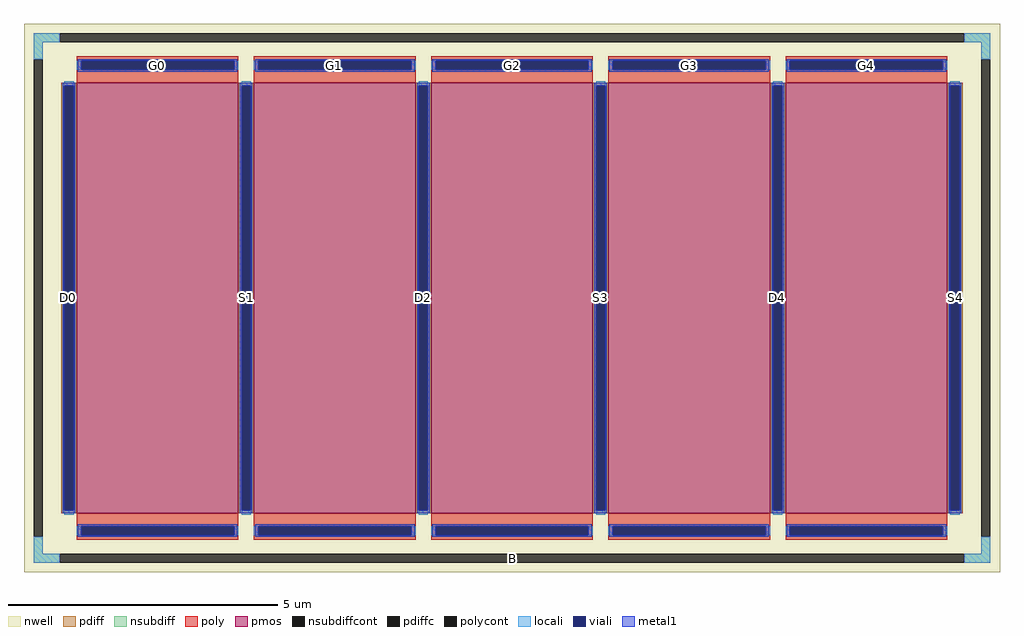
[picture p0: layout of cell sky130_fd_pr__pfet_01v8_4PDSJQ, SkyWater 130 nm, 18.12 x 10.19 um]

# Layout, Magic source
magic
tech sky130A
magscale 1 2
<< nwell >>
rect -1812 -1019 1812 1019
<< pmos >>
rect -1616 -800 -1016 800
rect -958 -800 -358 800
rect -300 -800 300 800
rect 358 -800 958 800
rect 1016 -800 1616 800
<< pdiff >>
rect -1674 788 -1616 800
rect -1674 -788 -1662 788
rect -1628 -788 -1616 788
rect -1674 -800 -1616 -788
rect -1016 788 -958 800
rect -1016 -788 -1004 788
rect -970 -788 -958 788
rect -1016 -800 -958 -788
rect -358 788 -300 800
rect -358 -788 -346 788
rect -312 -788 -300 788
rect -358 -800 -300 -788
rect 300 788 358 800
rect 300 -788 312 788
rect 346 -788 358 788
rect 300 -800 358 -788
rect 958 788 1016 800
rect 958 -788 970 788
rect 1004 -788 1016 788
rect 958 -800 1016 -788
rect 1616 788 1674 800
rect 1616 -788 1628 788
rect 1662 -788 1674 788
rect 1616 -800 1674 -788
<< pdiffc >>
rect -1662 -788 -1628 788
rect -1004 -788 -970 788
rect -346 -788 -312 788
rect 312 -788 346 788
rect 970 -788 1004 788
rect 1628 -788 1662 788
<< nsubdiff >>
rect -1776 949 -1680 983
rect 1680 949 1776 983
rect -1776 887 -1742 949
rect 1742 887 1776 949
rect -1776 -949 -1742 -887
rect 1742 -949 1776 -887
rect -1776 -983 -1680 -949
rect 1680 -983 1776 -949
<< nsubdiffcont >>
rect -1680 949 1680 983
rect -1776 -887 -1742 887
rect 1742 -887 1776 887
rect -1680 -983 1680 -949
<< poly >>
rect -1616 881 -1016 897
rect -1616 847 -1600 881
rect -1032 847 -1016 881
rect -1616 800 -1016 847
rect -958 881 -358 897
rect -958 847 -942 881
rect -374 847 -358 881
rect -958 800 -358 847
rect -300 881 300 897
rect -300 847 -284 881
rect 284 847 300 881
rect -300 800 300 847
rect 358 881 958 897
rect 358 847 374 881
rect 942 847 958 881
rect 358 800 958 847
rect 1016 881 1616 897
rect 1016 847 1032 881
rect 1600 847 1616 881
rect 1016 800 1616 847
rect -1616 -847 -1016 -800
rect -1616 -881 -1600 -847
rect -1032 -881 -1016 -847
rect -1616 -897 -1016 -881
rect -958 -847 -358 -800
rect -958 -881 -942 -847
rect -374 -881 -358 -847
rect -958 -897 -358 -881
rect -300 -847 300 -800
rect -300 -881 -284 -847
rect 284 -881 300 -847
rect -300 -897 300 -881
rect 358 -847 958 -800
rect 358 -881 374 -847
rect 942 -881 958 -847
rect 358 -897 958 -881
rect 1016 -847 1616 -800
rect 1016 -881 1032 -847
rect 1600 -881 1616 -847
rect 1016 -897 1616 -881
<< polycont >>
rect -1600 847 -1032 881
rect -942 847 -374 881
rect -284 847 284 881
rect 374 847 942 881
rect 1032 847 1600 881
rect -1600 -881 -1032 -847
rect -942 -881 -374 -847
rect -284 -881 284 -847
rect 374 -881 942 -847
rect 1032 -881 1600 -847
<< locali >>
rect -1776 949 -1680 983
rect 1680 949 1776 983
rect -1776 887 -1742 949
rect 1742 887 1776 949
rect -1616 847 -1600 881
rect -1032 847 -1016 881
rect -958 847 -942 881
rect -374 847 -358 881
rect -300 847 -284 881
rect 284 847 300 881
rect 358 847 374 881
rect 942 847 958 881
rect 1016 847 1032 881
rect 1600 847 1616 881
rect -1662 788 -1628 804
rect -1662 -804 -1628 -788
rect -1004 788 -970 804
rect -1004 -804 -970 -788
rect -346 788 -312 804
rect -346 -804 -312 -788
rect 312 788 346 804
rect 312 -804 346 -788
rect 970 788 1004 804
rect 970 -804 1004 -788
rect 1628 788 1662 804
rect 1628 -804 1662 -788
rect -1616 -881 -1600 -847
rect -1032 -881 -1016 -847
rect -958 -881 -942 -847
rect -374 -881 -358 -847
rect -300 -881 -284 -847
rect 284 -881 300 -847
rect 358 -881 374 -847
rect 942 -881 958 -847
rect 1016 -881 1032 -847
rect 1600 -881 1616 -847
rect -1776 -949 -1742 -887
rect 1742 -949 1776 -887
rect -1776 -983 -1680 -949
rect 1680 -983 1776 -949
<< viali >>
rect -1600 847 -1032 881
rect -942 847 -374 881
rect -284 847 284 881
rect 374 847 942 881
rect 1032 847 1600 881
rect -1662 -788 -1628 788
rect -1004 -788 -970 788
rect -346 -788 -312 788
rect 312 -788 346 788
rect 970 -788 1004 788
rect 1628 -788 1662 788
rect -1600 -881 -1032 -847
rect -942 -881 -374 -847
rect -284 -881 284 -847
rect 374 -881 942 -847
rect 1032 -881 1600 -847
<< metal1 >>
rect -1612 881 -1020 887
rect -1612 847 -1600 881
rect -1032 847 -1020 881
rect -1612 841 -1020 847
rect -954 881 -362 887
rect -954 847 -942 881
rect -374 847 -362 881
rect -954 841 -362 847
rect -296 881 296 887
rect -296 847 -284 881
rect 284 847 296 881
rect -296 841 296 847
rect 362 881 954 887
rect 362 847 374 881
rect 942 847 954 881
rect 362 841 954 847
rect 1020 881 1612 887
rect 1020 847 1032 881
rect 1600 847 1612 881
rect 1020 841 1612 847
rect -1668 788 -1622 800
rect -1668 -788 -1662 788
rect -1628 -788 -1622 788
rect -1668 -800 -1622 -788
rect -1010 788 -964 800
rect -1010 -788 -1004 788
rect -970 -788 -964 788
rect -1010 -800 -964 -788
rect -352 788 -306 800
rect -352 -788 -346 788
rect -312 -788 -306 788
rect -352 -800 -306 -788
rect 306 788 352 800
rect 306 -788 312 788
rect 346 -788 352 788
rect 306 -800 352 -788
rect 964 788 1010 800
rect 964 -788 970 788
rect 1004 -788 1010 788
rect 964 -800 1010 -788
rect 1622 788 1668 800
rect 1622 -788 1628 788
rect 1662 -788 1668 788
rect 1622 -800 1668 -788
rect -1612 -847 -1020 -841
rect -1612 -881 -1600 -847
rect -1032 -881 -1020 -847
rect -1612 -887 -1020 -881
rect -954 -847 -362 -841
rect -954 -881 -942 -847
rect -374 -881 -362 -847
rect -954 -887 -362 -881
rect -296 -847 296 -841
rect -296 -881 -284 -847
rect 284 -881 296 -847
rect -296 -887 296 -881
rect 362 -847 954 -841
rect 362 -881 374 -847
rect 942 -881 954 -847
rect 362 -887 954 -881
rect 1020 -847 1612 -841
rect 1020 -881 1032 -847
rect 1600 -881 1612 -847
rect 1020 -887 1612 -881
<< labels >>
rlabel nsubdiffcont 0 -966 0 -966 0 B
port 1 nsew
rlabel pdiffc -1645 0 -1645 0 0 D0
port 2 nsew
rlabel polycont -1316 864 -1316 864 0 G0
port 3 nsew
rlabel pdiffc -987 0 -987 0 0 S1
port 4 nsew
rlabel polycont -658 864 -658 864 0 G1
port 5 nsew
rlabel pdiffc -329 0 -329 0 0 D2
port 6 nsew
rlabel polycont 0 864 0 864 0 G2
port 7 nsew
rlabel pdiffc 329 0 329 0 0 S3
port 8 nsew
rlabel polycont 658 864 658 864 0 G3
port 9 nsew
rlabel pdiffc 987 0 987 0 0 D4
port 10 nsew
rlabel pdiffc 1645 0 1645 0 0 S4
port 11 nsew
rlabel polycont 1316 864 1316 864 0 G4
port 12 nsew
<< properties >>
string FIXED_BBOX -1759 -966 1759 966
string gencell sky130_fd_pr__pfet_01v8
string library sky130
string parameters w 8 l 3 m 1 nf 5 diffcov 100 polycov 100 guard 1 glc 1 grc 1 gtc 1 gbc 1 tbcov 100 rlcov 100 topc 1 botc 1 poverlap 0 doverlap 1 lmin 0.15 wmin 0.42 class mosfet compatible {sky130_fd_pr__pfet_01v8  sky130_fd_pr__pfet_01v8_lvt sky130_fd_pr__pfet_01v8_hvt  sky130_fd_pr__pfet_g5v0d10v5} full_metal 1 conn_gates 0 viasrc 100 viadrn 100 viagate 100 viagb 0 viagr 0 viagl 0 viagt 0 doports 1
<< end >>
